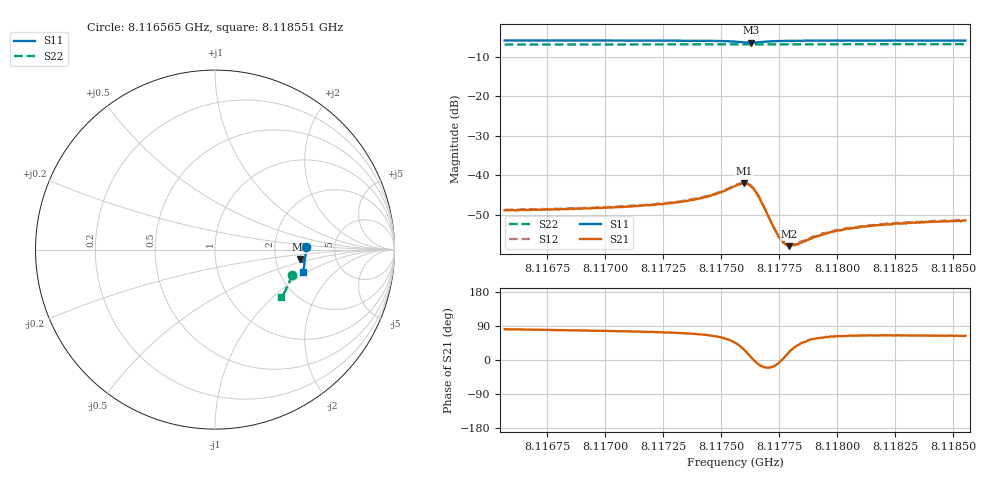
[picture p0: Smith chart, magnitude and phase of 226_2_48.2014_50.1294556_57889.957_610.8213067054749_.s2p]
#  HZ  S  RI  R  50.00
! Rohde & Schwarz Vector Network Analyzer
! Rohde-Schwarz,ZNB20-2Port,1311601062101988,3.16
! Created: UTC 3/20/2024, 11:46:09 AM
! freq[Hz]  re:S11  im:S11  re:S21  im:S21  re:S12  im:S12  re:S22  im:S22
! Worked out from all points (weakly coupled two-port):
!   401 points, 8.116565 GHz to 8.118551 GHz, reference 50 ohm
!   highest |S21| = -42.01 dB at 8.117598 GHz (marker M1); lowest = -57.9 dB at 8.117792 GHz (marker M2)
!   lowest |S11| = -6.5 dB at 8.117628 GHz (marker M3), VSWR 2.81, Z = 137 - j19.5 ohm
!   |S11| at or under -10 dB: nowhere
!   |S22| runs from -6.9 to -6.8 dB; largest |S21 - S12| = 0.00024
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8.1165654e9  0.5066 0.0161  0.000556 0.00358  0.000612 0.00361  0.4273 -0.1401
8.116898e9  0.506 -0.00955  0.000786 0.00373  0.000857 0.00377  0.4205 -0.1623
8.1172307e9  0.5039 -0.0362  0.00123 0.00415  0.00132 0.00421  0.4123 -0.184
8.117325e9  0.5025 -0.0446  0.00151 0.0044  0.00158 0.00445  0.4099 -0.1902
8.1174293e9  0.4994 -0.0548  0.00213 0.00487  0.00221 0.00493  0.4069 -0.1969
8.1174939e9  0.4952 -0.0621  0.00301 0.00528  0.00314 0.00534  0.4049 -0.2012
8.1175584e9  0.4852 -0.0682  0.00514 0.00526  0.00531 0.00534  0.4027 -0.2052
8.1175981e9  0.4748 -0.0648  0.00706 0.00361  0.00727 0.00356  0.4012 -0.2073
8.117613e9  0.472 -0.0604  0.00743 0.00232  0.00762 0.0023  0.4007 -0.208
8.1176279e9  0.4718 -0.0549  0.00723 0.000902  0.00743 0.000853  0.4003 -0.2087
8.1176428e9  0.4744 -0.05  0.00649 -0.000264  0.00662 -0.00037  0.4002 -0.2093
8.1176627e9  0.4799 -0.0467  0.00512 -0.00114  0.00521 -0.00125  0.3998 -0.2106
8.1177223e9  0.4932 -0.0509  0.00218 -0.000675  0.00225 -0.000662  0.3987 -0.2144
8.1177471e9  0.4957 -0.0546  0.00166 -0.000231  0.0017 -0.000249  0.3979 -0.2161
8.1177719e9  0.4971 -0.0579  0.00138 0.000177  0.0014 0.000135  0.3971 -0.2177
8.1177918e9  0.4979 -0.0607  0.0012 0.000448  0.00127 0.000453  0.3965 -0.2191
8.1178216e9  0.4985 -0.0642  0.00109 0.000792  0.00111 0.000788  0.3958 -0.221
8.1178911e9  0.4987 -0.0716  0.00093 0.00133  0.000982 0.00137  0.3936 -0.2254
8.1179705e9  0.4983 -0.0791  0.00091 0.00169  0.000967 0.00172  0.3909 -0.2304
8.1180301e9  0.4976 -0.0843  0.000939 0.00188  0.000921 0.00191  0.389 -0.2342
8.1182238e9  0.495 -0.0999  0.00103 0.00219  0.00109 0.00226  0.3822 -0.246
8.1185515e9  0.4892 -0.1245  0.00119 0.00242  0.00125 0.00241  0.37 -0.2656
